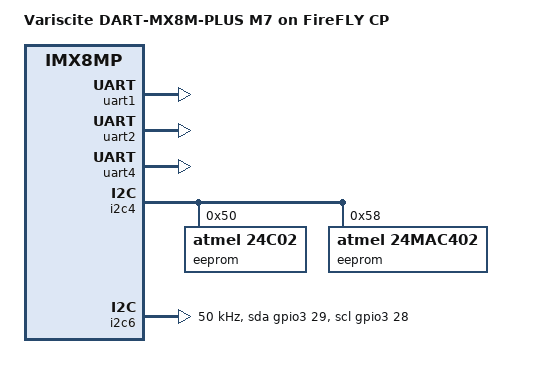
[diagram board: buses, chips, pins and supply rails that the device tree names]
// SPDX-License-Identifier: (GPL-2.0+ OR MIT)
/*
 * Copyright 2019 NXP
 * Copyright 2020-2021 Variscite Ltd.
 */

#include "imx8mp-var-dart-firefly.dts"
#include "imx8mp-var-common-m7.dtsi"

/ {
	model = "Variscite DART-MX8M-PLUS M7 on FireFLY CP";
};

// Used to turn off main processor messages so that the M7 alone has UART
#define MCU_DEBUG 0

&uart1 {
#if MCU_DEBUG
	status = "disabled";
#else
	status = "okay";
#endif
};

// GPS Base UART
&uart2 {
	pinctrl-names = "default";
	pinctrl-0 = <&pinctrl_uart2>;
	status = "okay";
};

// GPS Rover UART
&uart4 {
	pinctrl-names = "default";
	pinctrl-0 = <&pinctrl_uart4>;
	status = "okay";
};

/*
 * ATTENTION: M7 may use IPs like below
 * ECSPI1, I2C3, UART3, PWM3, SDMA1, FLEXCAN1
 */

&uart3 {
	status = "disabled";
};

&i2c3 {
	status = "disabled";
};

&ecspi1 {
	status = "disabled";
};

&ecspi3 {
	status = "disabled";
};

// Per Variscite, this needs to remain disabled for use with the modded SoMs
&wm8904 {
	status = "disabled";
};

&sdma1 {
	status = "disabled";
};


&flexcan1 {
	status = "disabled";
};

&aud2htx {
	status = "disabled";
};

&i2c4 {
	status = "okay";

	eeprom@50 {
		compatible = "atmel,24c02";
		reg = <0x50>;
	};

	eeprom@58 {
		compatible = "atmel,24mac402";
		reg = <0x58>;
	};
};

// Peripheral used to set the CDCEL913 clock synthesizer
&i2c6 {
	clock-frequency = <50000>;
	pinctrl-names = "default", "gpio";
	pinctrl-0 = <&pinctrl_i2c6>;
	pinctrl-1 = <&pinctrl_i2c6_gpio>;
	scl-gpios = <&gpio3 28 GPIO_ACTIVE_HIGH>;
	sda-gpios = <&gpio3 29 GPIO_ACTIVE_HIGH>;
	status = "okay";
};


// Keep this disabled to prevent kernel failures with external interrupts for the M7
&sai2 {
	status = "disabled";
};

// Disabled because there's a GPIO4 pin used as an interrupt on the MCU
&gpio4 {
	status = "disabled";
};

&iomuxc {
	// Debug LED GPIO pins
	pinctrl_gpio3: gpio3grp {
		fsl,pins = <
			MX8MP_IOMUXC_SAI5_RXFS__GPIO3_IO19	0x0 // GPSLock_LED
			MX8MP_IOMUXC_SAI5_RXD0__GPIO3_IO21	0x0 // StreamEN_LED
			MX8MP_IOMUXC_SAI5_RXC__GPIO3_IO20	0x0 // NewData_LED_1
			MX8MP_IOMUXC_NAND_DATA03__GPIO3_IO09	0x0 // SOM_DONE
		>;
	};

	// Debug comms pins
	pinctrl_uart1: uart1grp {
		fsl,pins = <
			MX8MP_IOMUXC_SAI2_RXC__UART1_DCE_RX				0x40
			MX8MP_IOMUXC_SAI2_RXFS__UART1_DCE_TX			0x40
		>;
	};
	
	// GPS Base pins
	pinctrl_uart2: uart2grp {
		fsl,pins = <
			MX8MP_IOMUXC_SAI3_TXFS__UART2_DCE_RX			0x40
			MX8MP_IOMUXC_SAI3_TXC__UART2_DCE_TX				0x40
		>;
	};

	// GPS Rover pins
	pinctrl_uart4: uart4grp {
		fsl,pins = <
			MX8MP_IOMUXC_UART4_RXD__UART4_DCE_RX				0x40
			MX8MP_IOMUXC_UART4_TXD__UART4_DCE_TX				0x40
		>;
	};

	// CDCEL I2C pins
	pinctrl_i2c6: i2c6grp {
		fsl,pins = <
			MX8MP_IOMUXC_HDMI_CEC__I2C6_SCL				0x400001c2
			MX8MP_IOMUXC_HDMI_HPD__I2C6_SDA				0x400001c2
		>;
	};

		pinctrl_i2c6_gpio: i2c6gpiogrp {
		fsl,pins = <
			MX8MP_IOMUXC_HDMI_CEC__GPIO3_IO28				0x1c2
			MX8MP_IOMUXC_HDMI_HPD__GPIO3_IO29				0x1c2
		>;
	};
};
